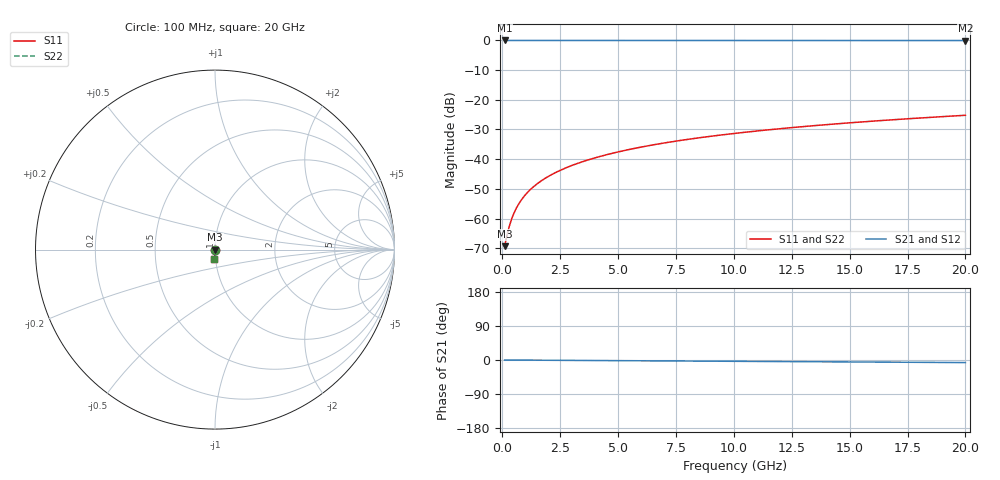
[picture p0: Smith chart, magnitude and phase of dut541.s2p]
! Touchstone file exported from HFSS 2026.1.0
!  File:  C:/ffzhzh/LocalFiles/Ansys_Project_Files/temp_train_TSV_541_1783024042_53980.aedt
!  Generated:  04:29:25 AM Jul  3, 2026
!  Design:  TSV
!  Project:  temp_train_TSV_541_1783024042_53980
! Variables:
!  h_bsmrdl = 2um
!  h_ox = 20um
!  h_rdl = 5um
!  h_sub = 65.38um
!  h_tmrdl = 5um
!  h_tsv = 65.38um
!  h_via = 3um
!  l_bsmrdl = 300um
!  l_sub = 411.58um
!  l_tmrdl = 200um
!  m_sub = 200um
!  pitch = 15.59um
!  r_tsv = 5.79um
!  s_tmrdl = 10um
!  w_bsmrdl = 18um
!  w_sub = 500um
!  w_tmrdl = 12um
!  x_tsv_center1 = 206um
!  x_tsv_center2 = 524um
!  x_tsv_center3 = 736um
!  x_tsv_center4 = 1054um
!  x_tsv_center5 = 1266um
!  x_tsv_center6 = 1584um
# GHz S MA R 50.000000
! Terminal data exported
! Port[1] = TSV1_1_T1
! Port[2] = TSV1_1_T2
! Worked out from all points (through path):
!   200 points, 100 MHz to 20 GHz, reference 50 ohm
!   highest |S21| = 0.00 dB at 100 MHz (marker M1); lowest = 0.0 dB at 20 GHz (marker M2)
!   lowest |S11| = -69.3 dB at 100 MHz (marker M3), VSWR 1.00, Z = 50 - j0.0206 ohm
!   |S11| at or under -10 dB: start of sweep to end of sweep
!   |S22| runs from -69.3 to -25.2 dB; largest |S21 - S12| = 2e-15
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0.1  0.000342 -37.0  0.9997 -0.0  0.9997 -0.0  0.000342 -37.0
! Gamma 0 0 0 0
! Port Impedance 50 0 50 0
0.2  0.0005185 -54.6  0.9997 -0.1  0.9997 -0.1  0.0005185 -54.6
0.3  0.0007353 -62.9  0.9997 -0.1  0.9997 -0.1  0.0007353 -62.9
0.4  0.0009727 -67.7  0.9996 -0.1  0.9996 -0.1  0.0009727 -67.7
0.5  0.001222 -70.9  0.9996 -0.2  0.9996 -0.2  0.001222 -70.9
0.6  0.001477 -73.3  0.9996 -0.2  0.9996 -0.2  0.001477 -73.3
0.8  0.001996 -76.6  0.9995 -0.3  0.9995 -0.3  0.001996 -76.6
1.1  0.002781 -79.6  0.9995 -0.4  0.9995 -0.4  0.002781 -79.6
1.3  0.003306 -81.0  0.9994 -0.5  0.9994 -0.5  0.003306 -81.0
1.5  0.003832 -82.0  0.9994 -0.5  0.9994 -0.5  0.003832 -82.0
1.8  0.004622 -83.1  0.9994 -0.6  0.9994 -0.6  0.004622 -83.1
2.1  0.005415 -83.9  0.9993 -0.7  0.9993 -0.7  0.005415 -83.9
2.7  0.00701 -85.0  0.9993 -0.9  0.9993 -0.9  0.00701 -85.0
3.5  0.009158 -86.0  0.9991 -1.2  0.9991 -1.2  0.009158 -86.0
4.2  0.01106 -86.7  0.999 -1.5  0.999 -1.5  0.01106 -86.7
5  0.01324 -87.3  0.9989 -1.7  0.9989 -1.7  0.01324 -87.3
6.8  0.0182 -88.5  0.9986 -2.3  0.9986 -2.3  0.0182 -88.5
8.3  0.02235 -89.4  0.9984 -2.9  0.9984 -2.9  0.02235 -89.4
10.1  0.02735 -90.4  0.9981 -3.5  0.9981 -3.5  0.02735 -90.4
13.4  0.03651 -91.9  0.9976 -4.6  0.9976 -4.6  0.03651 -91.9
16.7  0.04567 -93.3  0.997 -5.7  0.997 -5.7  0.04567 -93.3
20  0.05484 -94.6  0.9964 -6.8  0.9964 -6.8  0.05484 -94.6
